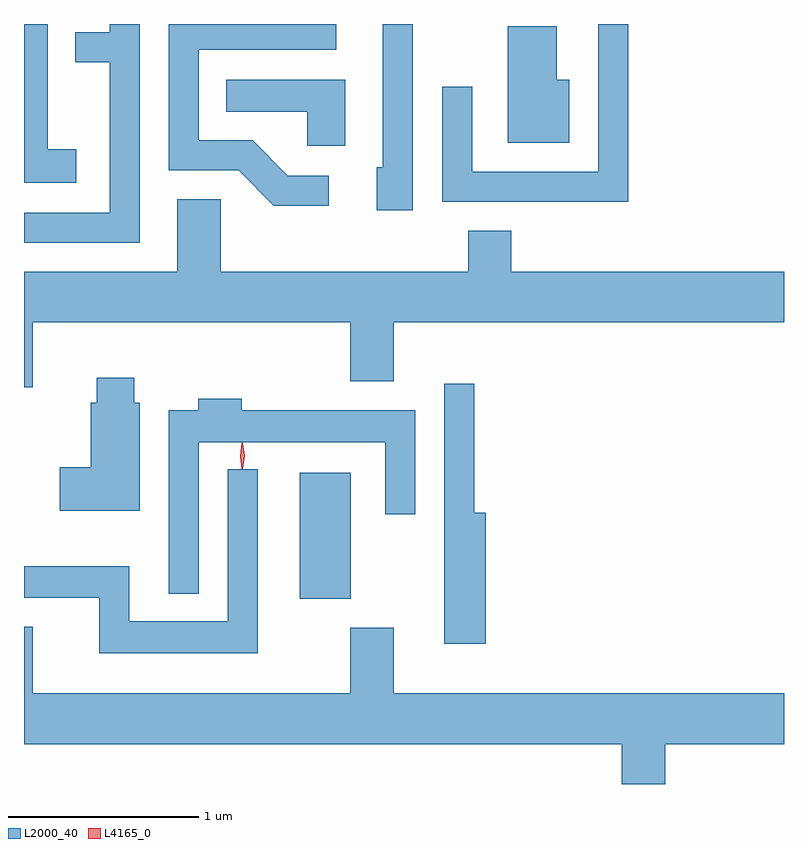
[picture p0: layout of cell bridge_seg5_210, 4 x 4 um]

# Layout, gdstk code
import gdstk
lib = gdstk.Library(unit=1e-6, precision=1e-09)
def R(c, l, rs):  # rectangles x0, y0, x1, y1
    for r in rs: c.add(gdstk.rectangle(r[:2], r[2:], *l))
def P(c, l, *ps):  # polygons
    for p in ps: c.add(gdstk.Polygon(p, *l))
L2000_40 = (2000, 40)
L4165_0 = (4165, 0)

bridge_seg5_210 = lib.new_cell('bridge_seg5_210')
R(bridge_seg5_210, L2000_40, [(1282.336,1422.041,1282.604,1422.704)])
P(bridge_seg5_210, L2000_40, [(1281.159,1424.409),(1281.009,1424.409),(1281.009,1425.067),(1280.884,1425.067),(1280.884,1424.231),(1281.159,1424.231)],
  [(1282.488,1424.269),(1282.272,1424.269),(1282.087,1424.454),(1281.804,1424.454),(1281.804,1424.931),(1282.528,1424.931),(1282.528,1425.067),(1281.646,1425.067),(1281.646,1424.296),(1282.014,1424.296),(1282.199,1424.111),(1282.488,1424.111)],
  [(1281.494,1425.067),(1281.336,1425.067),(1281.336,1425.024),(1281.153,1425.024),(1281.153,1424.866),(1281.336,1424.866),(1281.336,1424.074),(1280.884,1424.074),(1280.884,1423.916),(1281.494,1423.916)],
  [(1282.929,1425.067),(1282.771,1425.067),(1282.771,1424.314),(1282.741,1424.314),(1282.741,1424.086),(1282.929,1424.086)],
  [(1284.064,1425.067),(1283.841,1425.067),(1283.841,1425.066),(1283.906,1425.066),(1283.906,1424.289),(1283.244,1424.289),(1283.244,1424.738),(1283.086,1424.738),(1283.086,1424.131),(1284.064,1424.131)],
  [(1283.754,1424.774),(1283.689,1424.774),(1283.689,1425.054),(1283.431,1425.054),(1283.431,1424.441),(1283.754,1424.441)],
  [(1282.574,1424.774),(1281.948,1424.774),(1281.948,1424.606),(1282.376,1424.606),(1282.376,1424.426),(1282.574,1424.426)],
  [(1280.929,1423.496),(1282.601,1423.496),(1282.601,1423.186),(1282.829,1423.186),(1282.829,1423.496),(1284.884,1423.496),(1284.884,1423.764),(1283.449,1423.764),(1283.449,1423.979),(1283.221,1423.979),(1283.221,1423.764),(1281.919,1423.764),(1281.919,1424.144),(1281.691,1424.144),(1281.691,1423.764),(1280.884,1423.764),(1280.884,1423.156),(1280.929,1423.156)],
  [(1281.494,1423.074),(1281.464,1423.074),(1281.464,1423.204),(1281.266,1423.204),(1281.266,1423.074),(1281.236,1423.074),(1281.236,1422.734),(1281.071,1422.734),(1281.071,1422.506),(1281.494,1422.506)],
  [(1283.314,1422.494),(1283.254,1422.494),(1283.254,1423.173),(1283.096,1423.173),(1283.096,1421.806),(1283.314,1421.806)],
  [(1281.804,1422.866),(1282.786,1422.866),(1282.786,1422.488),(1282.944,1422.488),(1282.944,1423.034),(1282.029,1423.034),(1282.029,1423.094),(1281.801,1423.094),(1281.801,1423.034),(1281.646,1423.034),(1281.646,1422.068),(1281.804,1422.068)],
  [(1282.114,1422.723),(1281.956,1422.723),(1281.956,1421.924),(1281.439,1421.924),(1281.439,1422.214),(1280.884,1422.214),(1280.884,1422.046),(1281.281,1422.046),(1281.281,1421.756),(1282.114,1421.756)],
  [(1284.259,1421.276),(1284.884,1421.276),(1284.884,1421.544),(1282.829,1421.544),(1282.829,1421.889),(1282.601,1421.889),(1282.601,1421.544),(1280.929,1421.544),(1280.929,1421.894),(1280.884,1421.894),(1280.884,1421.276),(1284.031,1421.276),(1284.031,1421.067),(1284.259,1421.067)])
P(bridge_seg5_210, L4165_0, [(1282.031,1422.724),(1282.021,1422.793),(1282.03,1422.862),(1282.031,1422.863),(1282.032,1422.862),(1282.041,1422.793),(1282.032,1422.724),(1282.032,1422.724)],
  [(1282.034,1422.727),(1282.025,1422.794),(1282.034,1422.86),(1282.035,1422.861),(1282.035,1422.86),(1282.045,1422.794),(1282.035,1422.727),(1282.035,1422.727)])

lib.write_gds('bridge_seg5_210.gds')
